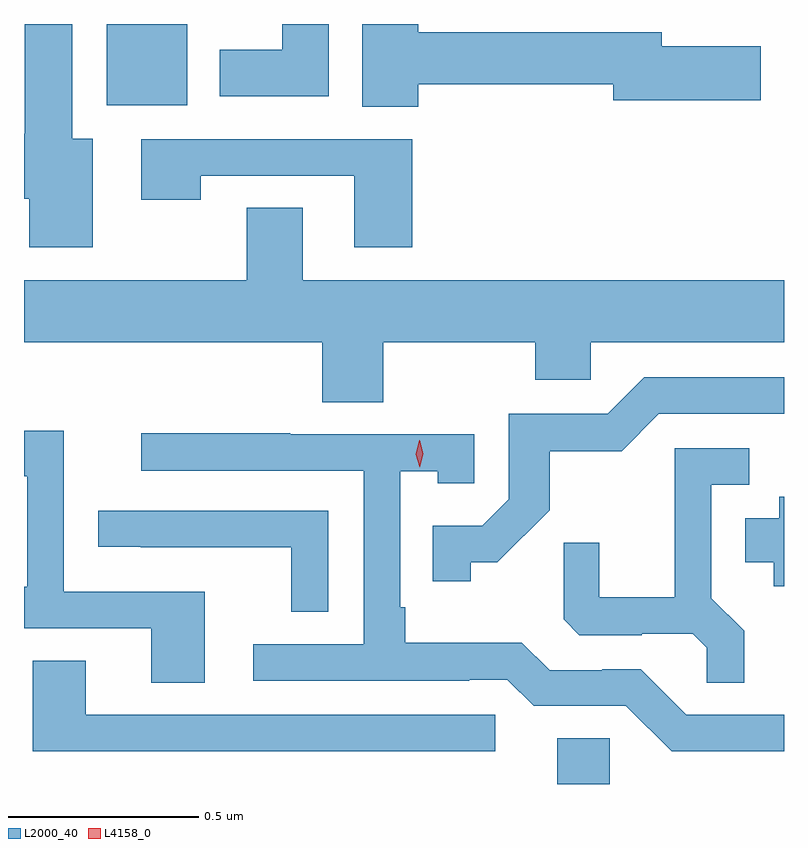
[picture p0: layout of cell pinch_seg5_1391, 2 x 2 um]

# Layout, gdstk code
import gdstk
lib = gdstk.Library(unit=1e-6, precision=1e-09)
def R(c, l, rs):  # rectangles x0, y0, x1, y1
    for r in rs: c.add(gdstk.rectangle(r[:2], r[2:], *l))
def P(c, l, *ps):  # polygons
    for p in ps: c.add(gdstk.Polygon(p, *l))
L2000_40 = (2000, 40)
L4158_0 = (4158, 0)

pinch_seg5_1391 = lib.new_cell('pinch_seg5_1391')
R(pinch_seg5_1391, L2000_40, [(282.191,882.238,282.33,882.359), (281.006,884.024,281.218,884.238)])
P(pinch_seg5_1391, L2000_40, [(280.969,883.936),(280.915,883.936),(280.915,884.238),(280.79,884.238),(280.79,883.949),(280.788,883.949),(280.788,883.778),(280.802,883.778),(280.802,883.65),(280.969,883.65)],
  [(281.825,884.08),(282.338,884.08),(282.338,884.038),(282.727,884.038),(282.727,884.18),(282.466,884.18),(282.466,884.216),(281.825,884.216),(281.825,884.238),(281.678,884.238),(281.678,884.02),(281.825,884.02)],
  [(281.59,884.238),(281.468,884.238),(281.468,884.17),(281.303,884.17),(281.303,884.048),(281.59,884.048)],
  [(281.81,883.935),(281.097,883.935),(281.097,883.776),(281.253,883.776),(281.253,883.839),(281.657,883.839),(281.657,883.65),(281.81,883.65)],
  [(281.733,883.4),(282.133,883.4),(282.133,883.302),(282.279,883.302),(282.279,883.4),(282.788,883.4),(282.788,883.564),(281.521,883.564),(281.521,883.754),(281.374,883.754),(281.374,883.564),(280.788,883.564),(280.788,883.4),(281.573,883.4),(281.573,883.243),(281.733,883.243)],
  [(281.964,882.821),(282.034,882.821),(282.172,882.958),(282.172,883.114),(282.361,883.114),(282.459,883.212),(282.788,883.212),(282.788,883.308),(282.42,883.308),(282.324,883.212),(282.063,883.212),(282.063,882.987),(281.994,882.918),(281.863,882.918),(281.863,882.771),(281.964,882.771)],
  [(281.263,882.744),(280.893,882.744),(280.893,883.168),(280.788,883.168),(280.788,883.048),(280.796,883.048),(280.796,882.757),(280.788,882.757),(280.788,882.648),(281.123,882.648),(281.123,882.505),(281.263,882.505)],
  [(282.788,882.42),(282.531,882.42),(282.411,882.54),(282.31,882.54),(282.31,882.537),(282.171,882.537),(282.098,882.61),(281.791,882.61),(281.791,882.703),(281.778,882.703),(281.778,883.061),(281.877,883.061),(281.877,883.029),(281.973,883.029),(281.973,883.158),(281.489,883.158),(281.489,883.161),(281.097,883.161),(281.097,883.062),(281.682,883.062),(281.682,882.606),(281.391,882.606),(281.391,882.51),(281.96,882.51),(281.96,882.513),(282.06,882.513),(282.129,882.444),(282.372,882.444),(282.492,882.324),(282.788,882.324)],
  [(282.683,882.641),(282.597,882.727),(282.597,883.026),(282.697,883.026),(282.697,883.122),(282.5,883.122),(282.5,882.73),(282.302,882.73),(282.302,882.873),(282.208,882.873),(282.208,882.671),(282.249,882.63),(282.414,882.63),(282.414,882.633),(282.548,882.633),(282.585,882.596),(282.585,882.505),(282.683,882.505)],
  [(282.788,882.994),(282.776,882.994),(282.776,882.937),(282.686,882.937),(282.686,882.821),(282.761,882.821),(282.761,882.758),(282.788,882.758)],
  [(281.589,882.957),(280.983,882.957),(280.983,882.862),(281.095,882.862),(281.095,882.861),(281.491,882.861),(281.491,882.691),(281.589,882.691)],
  [(282.028,882.42),(280.951,882.42),(280.951,882.563),(280.811,882.563),(280.811,882.324),(282.028,882.324)])
P(pinch_seg5_1391, L4158_0, [(281.83,883.071),(281.83,883.071),(281.819,883.106),(281.828,883.143),(281.828,883.143),(281.829,883.143),(281.839,883.107),(281.83,883.071)])

lib.write_gds('pinch_seg5_1391.gds')
